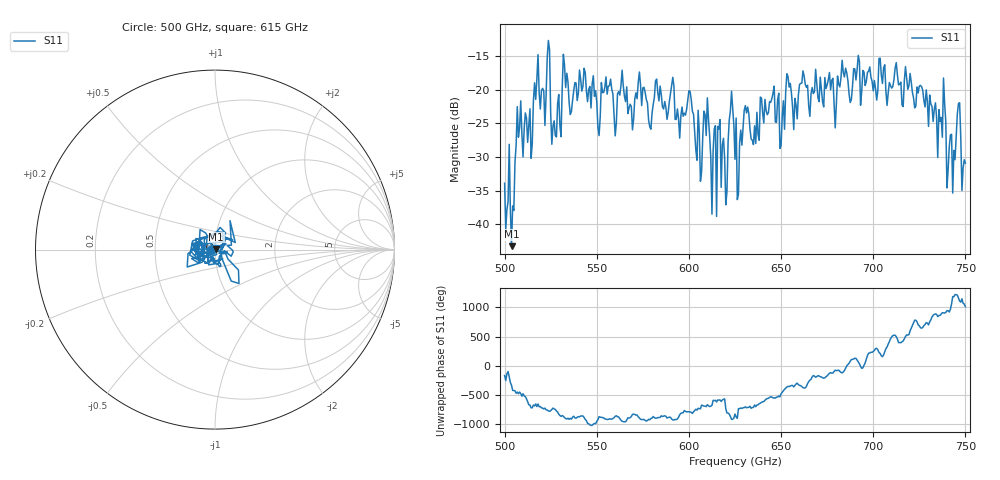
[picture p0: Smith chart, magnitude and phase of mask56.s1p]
!Created with skrf (http://scikit-rf.org).
# GHz S MA R 50.0
!freq magS11 angS11
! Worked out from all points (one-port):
!   401 points, 500 GHz to 750 GHz, reference 50 ohm
!   lowest |S11| = -43.2 dB at 503.8 GHz (marker M1), VSWR 1.01, Z = 50.6 + j0.295 ohm
!   |S11| at or under -10 dB: start of sweep to end of sweep
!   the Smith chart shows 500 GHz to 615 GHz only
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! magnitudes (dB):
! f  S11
! 500 GHz  -33.9
! 503.8 GHz  -43.2
! 507.5 GHz  -27.1
! 513.8 GHz  -22.8
! 516.9 GHz  -21.4
! 523.8 GHz  -12.7
! 526.9 GHz  -24.6
! 531.2 GHz  -19.8
! 542.5 GHz  -19.5
! 550.6 GHz  -25.6
! 562.5 GHz  -20.8
! 579.4 GHz  -25.9
! 590.6 GHz  -19.4
! 593.8 GHz  -22.9
! 600.6 GHz  -20.3
! 605.6 GHz  -26.2
! 609.4 GHz  -26.8
! 613.8 GHz  -25.8
! 620.6 GHz  -35.1
! 623.1 GHz  -20.3
! 625 GHz  -30.3
! 656.2 GHz  -22.6
! 687.5 GHz  -21.9
! 718.8 GHz  -20.0
! 738.1 GHz  -18.3
! 741.9 GHz  -26.7
! 746.2 GHz  -22.1
! 750 GHz  -30.9
